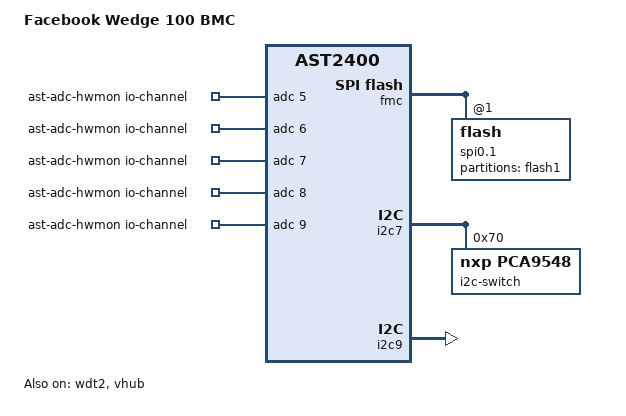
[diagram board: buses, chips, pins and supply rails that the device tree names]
// SPDX-License-Identifier: GPL-2.0+
// Copyright (c) 2018 Facebook Inc.
/dts-v1/;

#include "ast2400-facebook-netbmc-common.dtsi"

/ {
	model = "Facebook Wedge 100 BMC";
	compatible = "facebook,wedge100-bmc", "aspeed,ast2400";

	chosen {
		stdout-path = &uart3;
		bootargs = "console=ttyS2,9600n8 root=/dev/ram rw";
	};

	ast-adc-hwmon {
		compatible = "iio-hwmon";
		io-channels = <&adc 5>, <&adc 6>, <&adc 7>, <&adc 8>, <&adc 9>;
	};
};

&wdt2 {
	status = "okay";
	aspeed,reset-type = "system";
};

&fmc {
	flash@1 {
		status = "okay";
		m25p,fast-read;
		label = "spi0.1";

		partitions {
			compatible = "fixed-partitions";
			#address-cells = <1>;
			#size-cells = <1>;

			flash1@0 {
				reg = <0x0 0x2000000>;
				label = "flash1";
			};
		};
	};
};

&i2c7 {
	i2c-switch@70 {
		compatible = "nxp,pca9548";
		#address-cells = <1>;
		#size-cells = <0>;
		reg = <0x70>;
		i2c-mux-idle-disconnect;
	};
};

&i2c9 {
	status = "okay";
};


&vhub {
	status = "okay";
};
